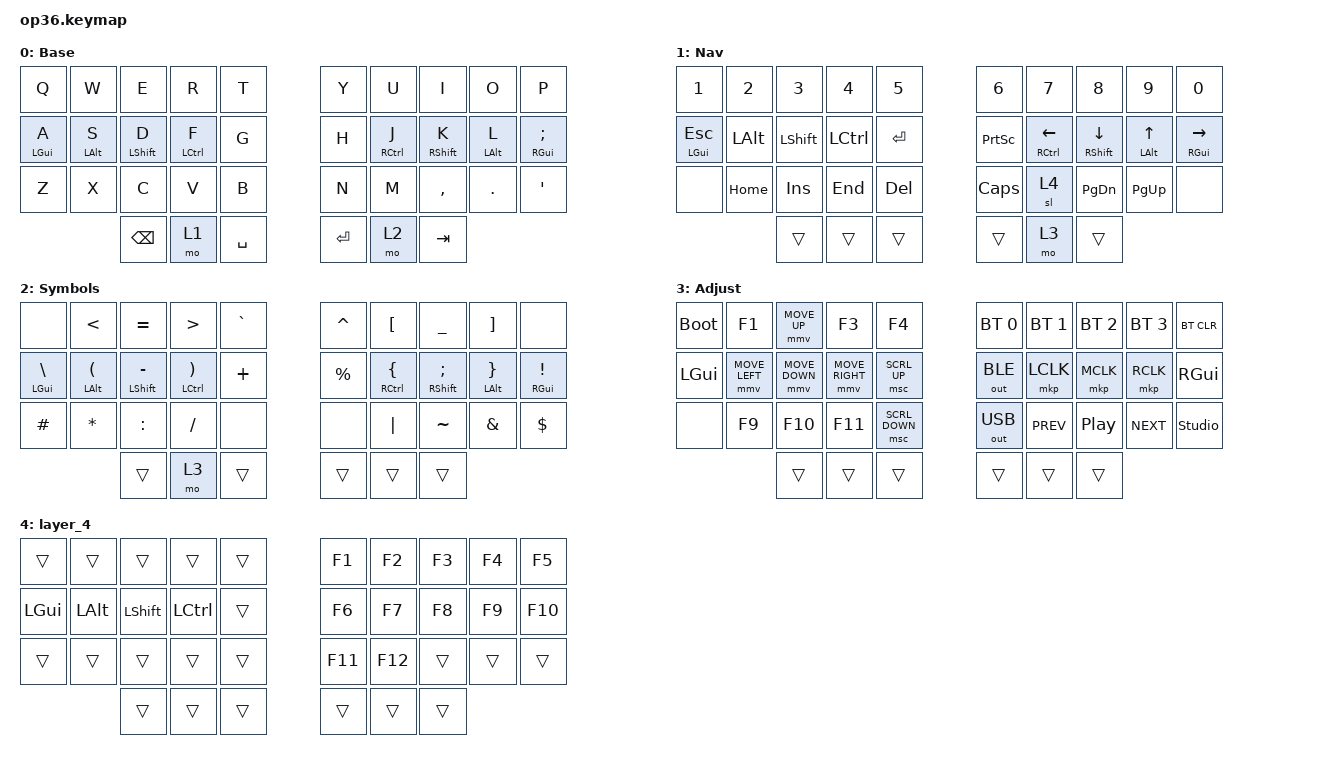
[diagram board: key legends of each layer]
#include "keys_ru.h"
#include <behaviors.dtsi>
#include <dt-bindings/zmk/bt.h>
#include <dt-bindings/zmk/keys.h>
#include <dt-bindings/zmk/outputs.h>
#define ZMK_POINTING_DEFAULT_MOVE_VAL 1000
#define ZMK_POINTING_DEFAULT_SCRL_VAL 15
#include <dt-bindings/zmk/pointing.h>

&mt {
    quick-tap-ms = <200>;
    flavor = "tap-preferred";
    require-prior-idle-ms = <125>;
};

/ {
    behaviors {
        hml: home_row_mod_left {
            compatible = "zmk,behavior-hold-tap";
            #binding-cells = <2>;
            flavor = "balanced";
            require-prior-idle-ms = <150>;
            tapping-term-ms = <280>;
            quick-tap-ms = <175>;
            bindings = <&kp>, <&kp>;

            hold-trigger-key-positions = <5 6 7 8 9 15 16 17 18 19 25 26 27 28 29 33 34 35>;
            hold-trigger-on-release;
        };

        hmr: home_row_mod_right {
            compatible = "zmk,behavior-hold-tap";
            #binding-cells = <2>;
            flavor = "balanced";
            require-prior-idle-ms = <150>;
            tapping-term-ms = <280>;
            quick-tap-ms = <175>;
            bindings = <&kp>, <&kp>;

            hold-trigger-key-positions = <0 1 2 3 4 10 11 12 13 14 20 21 22 23 24 30 31 32>;
            hold-trigger-on-release;
        };
    };

    combos {
        compatible = "zmk,combos";

        kha {
            bindings = <&kp LBKT>;
            key-positions = <6 7>;
        };

        hrdsgn {
            bindings = <&kp RBKT>;
            key-positions = <7 8>;
        };
    };

    keymap {
        compatible = "zmk,keymap";

        base {
            bindings = <
  &kp Q        &kp W        &kp E         &kp R          &kp T                          &kp Y  &kp U         &kp I         &kp O        &kp P
  &hml LGUI A  &hml LALT S  &hml LSHFT D  &hml LCTRL F   &kp G                          &kp H  &hmr RCTRL J  &hmr RSHFT K  &hmr LALT L  &hmr RGUI SEMICOLON
  &kp Z        &kp X        &kp C         &kp V          &kp B                          &kp N  &kp M         &kp COMMA     &kp DOT      &kp SQT
                                          &kp BACKSPACE  &mo 1  &kp SPACE    &kp ENTER  &mo 2  &kp TAB
            >;

            display-name = "Base";
        };

        nav {
            bindings = <
  &kp N1         &kp N2    &kp N3     &kp N4     &kp N5                        &kp N6           &kp N7           &kp N8           &kp N9        &kp N0
  &hml LGUI ESC  &kp LALT  &kp LSHFT  &kp LCTRL  &kp ENTER                     &kp PRINTSCREEN  &hmr RCTRL LEFT  &hmr RSHFT DOWN  &hmr LALT UP  &hmr RGUI RIGHT
  &none          &kp HOME  &kp INS    &kp END    &kp DELETE                    &kp CAPS         &sl 4            &kp PG_DN        &kp PG_UP     &none
                                      &trans     &trans      &trans    &trans  &mo 3            &trans
            >;

            display-name = "Nav";
        };

        sym {
            bindings = <
  &none           &kp LT          &kp EQUAL         &kp GT           &kp GRAVE                    &kp CARET  &kp LBKT         &kp UNDER        &kp RBKT        &none
  &hml LGUI BSLH  &hml LALT LPAR  &hml LSHFT MINUS  &hml LCTRL RPAR  &kp PLUS                     &kp PRCNT  &hmr RCTRL LBRC  &hmr RSHFT SEMI  &hmr LALT RBRC  &hmr RGUI EXCL
  &kp HASH        &kp STAR        &kp COLON         &kp FSLH         &none                        &none      &kp PIPE         &kp TILDE        &kp AMPS        &kp DLLR
                                                    &trans           &mo 3      &trans    &trans  &trans     &trans
            >;

            display-name = "Symbols";
        };

        adj {
            bindings = <
  &bootloader  &kp F1          &mmv MOVE_UP    &kp F3           &kp F4                            &bt BT_SEL 0  &bt BT_SEL 1  &bt BT_SEL 2  &bt BT_SEL 3  &bt BT_CLR
  &kp LGUI     &mmv MOVE_LEFT  &mmv MOVE_DOWN  &mmv MOVE_RIGHT  &msc SCRL_UP                      &out OUT_BLE  &mkp LCLK     &mkp MCLK     &mkp RCLK     &kp RGUI
  &none        &kp F9          &kp F10         &kp F11          &msc SCRL_DOWN                    &out OUT_USB  &kp C_PREV    &kp C_PP      &kp C_NEXT    &studio_unlock
                                               &trans           &trans          &trans    &trans  &trans        &trans
            >;

            display-name = "Adjust";
        };

        layer_4 {
            bindings = <
  &trans        &trans    &trans      &trans     &trans                    &kp F1   &kp F2   &kp F3  &kp F4  &kp F5
  &kp LEFT_GUI  &kp LALT  &kp LSHIFT  &kp LCTRL  &trans                    &kp F6   &kp F7   &kp F8  &kp F9  &kp F10
  &trans        &trans    &trans      &trans     &trans                    &kp F11  &kp F12  &trans  &trans  &trans
                                      &trans     &trans  &trans    &trans  &trans   &trans
            >;
        };
    };
};
